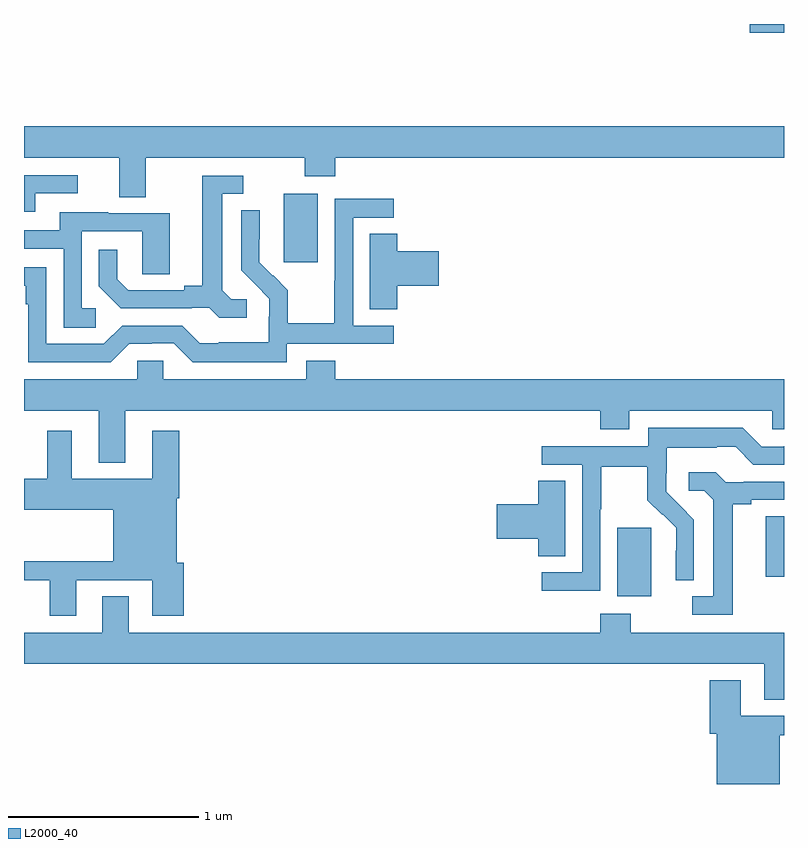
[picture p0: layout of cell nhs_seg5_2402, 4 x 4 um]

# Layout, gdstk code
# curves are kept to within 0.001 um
import gdstk
lib = gdstk.Library(unit=1e-6, precision=1e-09)
def R(c, l, rs):  # rectangles x0, y0, x1, y1
    for r in rs: c.add(gdstk.rectangle(r[:2], r[2:], *l))
def P(c, l, *ps):  # polygons
    for p in ps: c.add(gdstk.Polygon(p, *l))
L2000_40 = (2000, 40)

nhs_seg5_2402 = lib.new_cell('nhs_seg5_2402')
R(nhs_seg5_2402, L2000_40, [(254.123,851.786,254.302,852.147), (254.903,851.889,255,852.209), (252.368,853.545,252.547,853.906), (254.82,854.753,255,854.799)])
P(nhs_seg5_2402, L2000_40, [(251.641,854.096),(252.478,854.096),(252.478,853.997),(252.638,853.997),(252.638,854.096),(255,854.096),(255,854.26),(251,854.26),(251,854.096),(251.501,854.096),(251.501,853.888),(251.641,853.888)],
  [(251.059,853.908),(251.284,853.908),(251.284,854.004),(251,854.004),(251,853.812),(251.059,853.812)],
  [(252.172,853.35),(252.09,853.35),(252.043,853.397),(252.043,853.905),(252.154,853.905),(252.154,854.001),(251.939,854.001),(251.939,853.421),(251.843,853.421),(251.843,853.398),(251.548,853.398),(251.491,853.455),(251.491,853.612),(251.394,853.612),(251.394,853.418),(251.51,853.302),(251.882,853.302),(251.882,853.305),(251.976,853.305),(252.028,853.253),(252.172,853.253)],
  [(252.384,853.116),(252.946,853.116),(252.946,853.212),(252.732,853.212),(252.732,853.779),(252.946,853.779),(252.946,853.878),(252.636,853.878),(252.636,853.448),(252.634,853.448),(252.634,853.225),(252.389,853.225),(252.389,853.399),(252.312,853.476),(252.309,853.473),(252.239,853.544),(252.24,853.82),(252.144,853.82),(252.144,853.502),(252.29,853.354),(252.29,853.257),(252.288,853.257),(252.288,853.123),(252.025,853.123),(252.025,853.119),(251.925,853.119),(251.832,853.212),(251.517,853.212),(251.421,853.116),(251.118,853.116),(251.118,853.518),(251,853.518),(251,853.422),(251.009,853.422),(251.009,853.325),(251.022,853.325),(251.022,853.02),(251.457,853.02),(251.553,853.116),(251.672,853.116),(251.672,853.119),(251.787,853.119),(251.887,853.019),(252.384,853.019)],
  [(251.377,853.302),(251.304,853.302),(251.304,853.707),(251.622,853.707),(251.622,853.483),(251.767,853.483),(251.767,853.803),(251.443,853.803),(251.443,853.807),(251.189,853.807),(251.189,853.713),(251,853.713),(251,853.617),(251.208,853.617),(251.208,853.201),(251.377,853.201)],
  [(252.965,853.421),(253.183,853.421),(253.183,853.604),(252.965,853.604),(252.965,853.694),(252.821,853.694),(252.821,853.297),(252.965,853.297)],
  [(251.533,852.764),(254.033,852.764),(254.033,852.665),(254.185,852.665),(254.185,852.764),(254.937,852.764),(254.937,852.666),(255,852.666),(255,852.928),(252.638,852.928),(252.638,853.027),(252.485,853.027),(252.485,852.928),(251.733,852.928),(251.733,853.026),(251.595,853.026),(251.595,852.928),(251,852.928),(251,852.764),(251.393,852.764),(251.393,852.491),(251.533,852.491)],
  [(254.034,852.244),(254.037,852.244),(254.037,852.468),(254.281,852.468),(254.281,852.293),(254.358,852.216),(254.361,852.219),(254.432,852.149),(254.432,852.026),(254.43,852.026),(254.43,851.872),(254.526,851.872),(254.526,852.19),(254.38,852.338),(254.38,852.435),(254.382,852.435),(254.382,852.569),(254.645,852.569),(254.645,852.573),(254.745,852.573),(254.838,852.48),(255,852.48),(255,852.576),(254.999,852.573),(254.883,852.573),(254.783,852.673),(254.286,852.673),(254.286,852.576),(253.725,852.576),(253.725,852.48),(253.938,852.48),(253.938,851.913),(253.725,851.913),(253.725,851.815),(254.034,851.815)],
  [(251.275,851.871),(251.675,851.871),(251.675,851.685),(251.84,851.685),(251.84,851.964),(251.803,851.964),(251.803,852.302),(251.816,852.302),(251.816,852.658),(251.675,852.658),(251.675,852.406),(251.251,852.406),(251.251,852.658),(251.123,852.658),(251.123,852.406),(251,852.406),(251,852.242),(251.471,852.242),(251.471,851.972),(251,851.972),(251,851.871),(251.135,851.871),(251.135,851.685),(251.275,851.685)],
  [(254.731,852.272),(254.827,852.272),(254.827,852.294),(255,852.294),(255,852.39),(254.788,852.39),(254.788,852.387),(254.694,852.387),(254.642,852.439),(254.499,852.439),(254.499,852.342),(254.58,852.342),(254.627,852.295),(254.627,851.787),(254.517,851.787),(254.517,851.691),(254.731,851.691)],
  [(253.849,852.395),(253.706,852.395),(253.706,852.272),(253.488,852.272),(253.488,852.089),(253.706,852.089),(253.706,851.998),(253.849,851.998)],
  [(255,851.596),(254.193,851.596),(254.193,851.695),(254.033,851.695),(254.033,851.596),(251.551,851.596),(251.551,851.786),(251.411,851.786),(251.411,851.596),(251,851.596),(251,851.432),(254.897,851.432),(254.897,851.242),(255,851.242)],
  [(254.977,851.056),(255,851.056),(255,851.157),(254.773,851.157),(254.773,851.344),(254.609,851.344),(254.609,851.064),(254.645,851.064),(254.645,850.799),(254.977,850.799)])

lib.write_gds('nhs_seg5_2402.gds')
